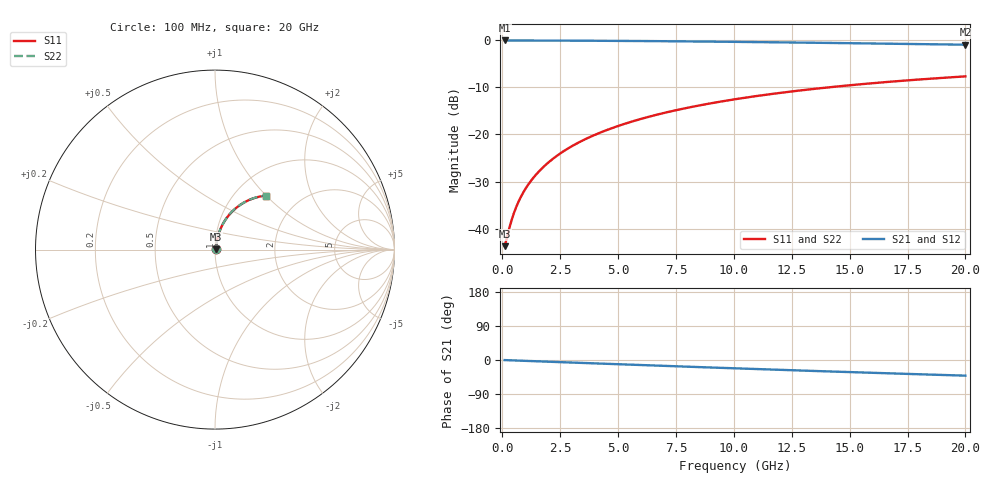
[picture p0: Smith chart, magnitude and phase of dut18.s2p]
! Touchstone file exported from HFSS 2026.1.0
!  File:  C:/ffzhzh/LocalFiles/Ansys_Project_Files/temp_train_TMRDL_18_1782880321_46784.aedt
!  Generated:  12:33:18 PM Jul  1, 2026
!  Design:  TMRDL
!  Project:  temp_train_TMRDL_18_1782880321_46784
! Variables:
!  h_bsmrdl = 2um
!  h_ox = 20um
!  h_rdl = 5um
!  h_sub = 80um
!  h_tmrdl = 2.66um
!  h_tsv = 80um
!  h_via = 3um
!  l_bsmrdl = 300um
!  l_sub = 988.02um
!  l_tmrdl = 588.02um
!  m_sub = 200um
!  pitch = 35.44um
!  r_tsv = 6um
!  s_tmrdl = 10um
!  w_bsmrdl = 18um
!  w_sub = 500um
!  w_tmrdl = 13.36um
!  x_tsv_center1 = 594.7um
!  x_tsv_center2 = 912.7um
!  x_tsv_center3 = 1514.08um
!  x_tsv_center4 = 1832.08um
!  x_tsv_center5 = 2433.46um
!  x_tsv_center6 = 2751.46um
# GHz S MA R 50.000000
! Terminal data exported
! Port[1] = TM_RDL1_1_T1
! Port[2] = TM_RDL1_1_T2
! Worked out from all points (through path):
!   200 points, 100 MHz to 20 GHz, reference 50 ohm
!   highest |S21| = -0.05 dB at 100 MHz (marker M1); lowest = -1.0 dB at 20 GHz (marker M2)
!   group delay of S21, straight-line fit = 5.75 ps
!   lowest |S11| = -43.7 dB at 100 MHz (marker M3), VSWR 1.01, Z = 50.6 + j0.269 ohm
!   |S11| at or under -10 dB: start of sweep to 14.1 GHz
!   |S22| runs from -43.7 to -7.7 dB; largest |S21 - S12| = 2.1e-15
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0.1  0.006528 24.1  0.994 -0.2  0.994 -0.2  0.006528 24.1
! Gamma 0 0 0 0
! Port Impedance 50 0 50 0
0.3  0.01007 51.8  0.9938 -0.7  0.9938 -0.7  0.01007 51.8
0.4  0.01229 58.4  0.9937 -0.9  0.9937 -0.9  0.01229 58.5
0.5  0.01461 62.9  0.9935 -1.2  0.9935 -1.2  0.01461 62.9
0.6  0.01696 66.0  0.9934 -1.4  0.9934 -1.4  0.01696 66.0
0.7  0.01934 68.3  0.9932 -1.6  0.9932 -1.6  0.01934 68.3
0.9  0.02411 71.5  0.9929 -2.1  0.9929 -2.1  0.02411 71.5
1.2  0.03131 74.2  0.9925 -2.7  0.9925 -2.7  0.03131 74.2
1.4  0.03613 75.4  0.9922 -3.2  0.9922 -3.2  0.03613 75.4
1.7  0.04339 76.5  0.9918 -3.9  0.9918 -3.9  0.04339 76.5
2.2  0.05553 77.3  0.991 -5.0  0.991 -5.0  0.05553 77.3
2.8  0.07011 77.4  0.9899 -6.3  0.9899 -6.3  0.07011 77.4
3.5  0.08707 76.9  0.9883 -7.9  0.9883 -7.9  0.08707 76.9
4.2  0.1039 76.1  0.9865 -9.4  0.9865 -9.4  0.1039 76.1
5  0.123 74.9  0.984 -11.2  0.984 -11.2  0.123 74.9
5.9  0.1442 73.3  0.9807 -13.1  0.9807 -13.1  0.1442 73.3
6.8  0.1649 71.7  0.977 -15.1  0.977 -15.1  0.1649 71.7
8.3  0.1987 68.8  0.9701 -18.3  0.9701 -18.3  0.1987 68.8
10.1  0.2375 65.3  0.9605 -22.1  0.9605 -22.1  0.2375 65.3
13.4  0.3033 58.8  0.9405 -28.8  0.9405 -28.8  0.3033 58.9
16.7  0.3619 52.6  0.9186 -35.2  0.9186 -35.2  0.3619 52.7
20  0.4132 46.7  0.8961 -41.3  0.8961 -41.3  0.4132 46.8
